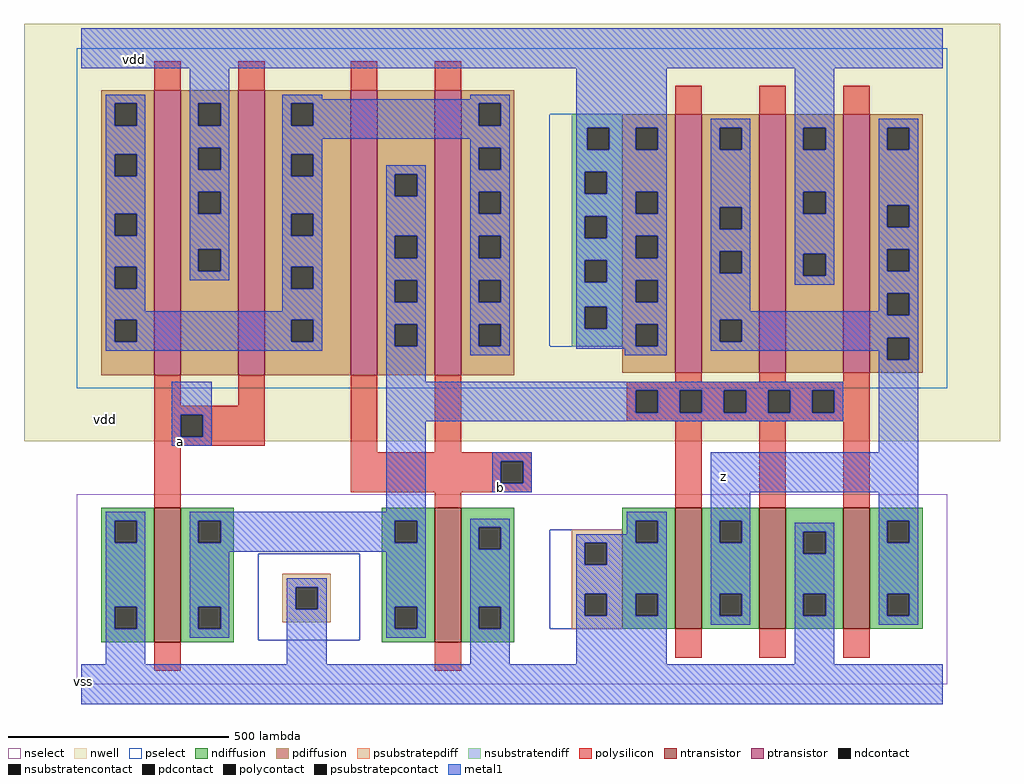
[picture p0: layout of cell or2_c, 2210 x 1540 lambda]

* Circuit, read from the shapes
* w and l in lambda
.subckt or2_c z a b vdd vss
M1 n1 a vss vss nfet w=305 l=60
M2 vss b n1 vss nfet w=305 l=60
M3 z n1 vss vss nfet w=275 l=60 m=3
M4 vdd a n2 vdd pfet w=645 l=60 m=2
M5 n1 b n2 vdd pfet w=645 l=60 m=2
M6 z n1 vdd vdd pfet w=585 l=60 m=3
.ends

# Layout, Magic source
magic
tech amic5n
<< nwell >>
rect -130 550 2080 1495
<< ntransistor >>
rect 165 95 225 400
rect 800 95 860 400
rect 1345 125 1405 400
rect 1535 125 1595 400
rect 1725 125 1785 400
<< ptransistor >>
rect 165 700 225 1345
rect 355 700 415 1345
rect 610 700 670 1345
rect 800 700 860 1345
rect 1345 705 1405 1290
rect 1535 705 1595 1290
rect 1725 705 1785 1290
<< nselect >>
rect 1060 765 1225 1290
rect -10 350 1960 430
rect -10 295 1060 350
rect -10 100 400 295
rect 630 125 1060 295
rect 1225 125 1960 350
rect 630 100 1960 125
rect -10 0 1960 100
<< pselect >>
rect -10 1290 1960 1440
rect -10 765 1060 1290
rect 1225 765 1960 1290
rect -10 670 1960 765
rect 400 100 630 295
rect 1060 125 1225 350
<< ndiffusion >>
rect 45 370 165 400
rect 45 320 75 370
rect 125 320 165 370
rect 45 175 165 320
rect 45 125 75 175
rect 125 125 165 175
rect 45 95 165 125
rect 225 370 345 400
rect 225 320 265 370
rect 315 320 345 370
rect 225 175 345 320
rect 680 370 800 400
rect 680 320 710 370
rect 760 320 800 370
rect 225 125 265 175
rect 315 125 345 175
rect 680 175 800 320
rect 225 95 345 125
rect 680 125 710 175
rect 760 125 800 175
rect 680 95 800 125
rect 860 355 980 400
rect 860 305 900 355
rect 950 305 980 355
rect 1225 370 1345 400
rect 860 175 980 305
rect 860 125 900 175
rect 950 125 980 175
rect 1225 320 1255 370
rect 1305 320 1345 370
rect 1225 205 1345 320
rect 1225 155 1255 205
rect 1305 155 1345 205
rect 1225 125 1345 155
rect 1405 370 1535 400
rect 1405 320 1445 370
rect 1495 320 1535 370
rect 1405 205 1535 320
rect 1405 155 1445 205
rect 1495 155 1535 205
rect 1405 125 1535 155
rect 1595 345 1725 400
rect 1595 295 1635 345
rect 1685 295 1725 345
rect 1595 205 1725 295
rect 1595 155 1635 205
rect 1685 155 1725 205
rect 1595 125 1725 155
rect 1785 370 1905 400
rect 1785 320 1825 370
rect 1875 320 1905 370
rect 1785 205 1905 320
rect 1785 155 1825 205
rect 1875 155 1905 205
rect 1785 125 1905 155
rect 860 95 980 125
<< pdiffusion >>
rect 45 1315 165 1345
rect 45 1265 75 1315
rect 125 1265 165 1315
rect 45 1200 165 1265
rect 45 1150 75 1200
rect 125 1150 165 1200
rect 45 1065 165 1150
rect 45 1015 75 1065
rect 125 1015 165 1065
rect 45 945 165 1015
rect 45 895 75 945
rect 125 895 165 945
rect 45 825 165 895
rect 45 775 75 825
rect 125 775 165 825
rect 45 700 165 775
rect 225 1315 355 1345
rect 225 1265 265 1315
rect 315 1265 355 1315
rect 225 1215 355 1265
rect 225 1165 265 1215
rect 315 1165 355 1215
rect 225 1115 355 1165
rect 225 1065 265 1115
rect 315 1065 355 1115
rect 225 985 355 1065
rect 225 935 265 985
rect 315 935 355 985
rect 225 700 355 935
rect 415 1315 610 1345
rect 415 1265 475 1315
rect 525 1265 610 1315
rect 415 1200 610 1265
rect 415 1150 475 1200
rect 525 1150 610 1200
rect 415 1065 610 1150
rect 415 1015 475 1065
rect 525 1015 610 1065
rect 415 945 610 1015
rect 415 895 475 945
rect 525 895 610 945
rect 415 825 610 895
rect 415 775 475 825
rect 525 775 610 825
rect 415 700 610 775
rect 670 1155 800 1345
rect 670 1105 710 1155
rect 760 1105 800 1155
rect 670 1015 800 1105
rect 670 965 710 1015
rect 760 965 800 1015
rect 670 915 800 965
rect 670 865 710 915
rect 760 865 800 915
rect 670 815 800 865
rect 670 765 710 815
rect 760 765 800 815
rect 670 700 800 765
rect 860 1315 980 1345
rect 860 1265 900 1315
rect 950 1265 980 1315
rect 860 1215 980 1265
rect 860 1165 900 1215
rect 950 1165 980 1215
rect 860 1115 980 1165
rect 860 1065 900 1115
rect 950 1065 980 1115
rect 860 1015 980 1065
rect 860 965 900 1015
rect 950 965 980 1015
rect 860 915 980 965
rect 860 865 900 915
rect 950 865 980 915
rect 860 815 980 865
rect 860 765 900 815
rect 950 765 980 815
rect 1225 1260 1345 1290
rect 1225 1210 1255 1260
rect 1305 1210 1345 1260
rect 1225 1115 1345 1210
rect 1225 1065 1255 1115
rect 1305 1065 1345 1115
rect 1225 1015 1345 1065
rect 1225 965 1255 1015
rect 1305 965 1345 1015
rect 1225 915 1345 965
rect 1225 865 1255 915
rect 1305 865 1345 915
rect 1225 815 1345 865
rect 1225 765 1255 815
rect 1305 765 1345 815
rect 860 700 980 765
rect 1225 705 1345 765
rect 1405 1260 1535 1290
rect 1405 1210 1445 1260
rect 1495 1210 1535 1260
rect 1405 1080 1535 1210
rect 1405 1030 1445 1080
rect 1495 1030 1535 1080
rect 1405 980 1535 1030
rect 1405 930 1445 980
rect 1495 930 1535 980
rect 1405 825 1535 930
rect 1405 775 1445 825
rect 1495 775 1535 825
rect 1405 705 1535 775
rect 1595 1260 1725 1290
rect 1595 1210 1635 1260
rect 1685 1210 1725 1260
rect 1595 1115 1725 1210
rect 1595 1065 1635 1115
rect 1685 1065 1725 1115
rect 1595 975 1725 1065
rect 1595 925 1635 975
rect 1685 925 1725 975
rect 1595 705 1725 925
rect 1785 1260 1905 1290
rect 1785 1210 1825 1260
rect 1875 1210 1905 1260
rect 1785 1085 1905 1210
rect 1785 1035 1825 1085
rect 1875 1035 1905 1085
rect 1785 985 1905 1035
rect 1785 935 1825 985
rect 1875 935 1905 985
rect 1785 885 1905 935
rect 1785 835 1825 885
rect 1875 835 1905 885
rect 1785 785 1905 835
rect 1785 735 1825 785
rect 1875 735 1905 785
rect 1785 705 1905 735
<< psubstratepdiff >>
rect 455 220 565 250
rect 455 170 485 220
rect 535 170 565 220
rect 455 140 565 170
rect 1110 320 1225 350
rect 1110 270 1140 320
rect 1190 270 1225 320
rect 1110 205 1225 270
rect 1110 155 1140 205
rect 1190 155 1225 205
rect 1110 125 1225 155
<< nsubstratendiff >>
rect 1110 1260 1225 1290
rect 1110 1210 1145 1260
rect 1195 1210 1225 1260
rect 1110 1160 1225 1210
rect 1110 1110 1140 1160
rect 1190 1110 1225 1160
rect 1110 1060 1225 1110
rect 1110 1010 1140 1060
rect 1190 1010 1225 1060
rect 1110 960 1225 1010
rect 1110 910 1140 960
rect 1190 910 1225 960
rect 1110 855 1225 910
rect 1110 805 1140 855
rect 1190 805 1225 855
rect 1110 765 1225 805
<< nsubstratencontact >>
rect 1145 1210 1195 1260
rect 1140 1110 1190 1160
rect 1140 1010 1190 1060
rect 1140 910 1190 960
rect 1140 805 1190 855
<< psubstratepcontact >>
rect 485 170 535 220
rect 1140 270 1190 320
rect 1140 155 1190 205
<< ndcontact >>
rect 75 320 125 370
rect 75 125 125 175
rect 265 320 315 370
rect 710 320 760 370
rect 265 125 315 175
rect 710 125 760 175
rect 900 305 950 355
rect 900 125 950 175
rect 1255 320 1305 370
rect 1255 155 1305 205
rect 1445 320 1495 370
rect 1445 155 1495 205
rect 1635 295 1685 345
rect 1635 155 1685 205
rect 1825 320 1875 370
rect 1825 155 1875 205
<< pdcontact >>
rect 75 1265 125 1315
rect 75 1150 125 1200
rect 75 1015 125 1065
rect 75 895 125 945
rect 75 775 125 825
rect 265 1265 315 1315
rect 265 1165 315 1215
rect 265 1065 315 1115
rect 265 935 315 985
rect 475 1265 525 1315
rect 475 1150 525 1200
rect 475 1015 525 1065
rect 475 895 525 945
rect 475 775 525 825
rect 710 1105 760 1155
rect 710 965 760 1015
rect 710 865 760 915
rect 710 765 760 815
rect 900 1265 950 1315
rect 900 1165 950 1215
rect 900 1065 950 1115
rect 900 965 950 1015
rect 900 865 950 915
rect 900 765 950 815
rect 1255 1210 1305 1260
rect 1255 1065 1305 1115
rect 1255 965 1305 1015
rect 1255 865 1305 915
rect 1255 765 1305 815
rect 1445 1210 1495 1260
rect 1445 1030 1495 1080
rect 1445 930 1495 980
rect 1445 775 1495 825
rect 1635 1210 1685 1260
rect 1635 1065 1685 1115
rect 1635 925 1685 975
rect 1825 1210 1875 1260
rect 1825 1035 1875 1085
rect 1825 935 1875 985
rect 1825 835 1875 885
rect 1825 735 1875 785
<< polysilicon >>
rect 165 1345 225 1410
rect 355 1345 415 1410
rect 610 1345 670 1410
rect 800 1345 860 1410
rect 1345 1290 1405 1355
rect 1535 1290 1595 1355
rect 1725 1290 1785 1355
rect 165 630 225 700
rect 355 630 415 700
rect 165 610 415 630
rect 165 560 225 610
rect 275 560 415 610
rect 165 540 415 560
rect 165 400 225 540
rect 610 525 670 700
rect 800 525 860 700
rect 1345 685 1405 705
rect 1535 685 1595 705
rect 1725 685 1785 705
rect 1235 665 1785 685
rect 1235 615 1255 665
rect 1305 615 1355 665
rect 1405 615 1455 665
rect 1505 615 1555 665
rect 1605 615 1655 665
rect 1705 615 1785 665
rect 1235 595 1785 615
rect 610 505 1020 525
rect 610 455 950 505
rect 1000 455 1020 505
rect 610 435 1020 455
rect 800 400 860 435
rect 1345 400 1405 595
rect 1535 400 1595 595
rect 1725 400 1785 595
rect 165 30 225 95
rect 800 30 860 95
rect 1345 60 1405 125
rect 1535 60 1595 125
rect 1725 60 1785 125
<< polycontact >>
rect 225 560 275 610
rect 1255 615 1305 665
rect 1355 615 1405 665
rect 1455 615 1505 665
rect 1555 615 1605 665
rect 1655 615 1705 665
rect 950 455 1000 505
<< metal1 >>
rect 0 1395 1950 1485
rect 55 1315 145 1335
rect 55 1265 75 1315
rect 125 1265 145 1315
rect 55 1200 145 1265
rect 55 1150 75 1200
rect 125 1150 145 1200
rect 55 1065 145 1150
rect 55 1015 75 1065
rect 125 1015 145 1065
rect 55 945 145 1015
rect 55 895 75 945
rect 125 895 145 945
rect 245 1315 335 1395
rect 245 1265 265 1315
rect 315 1265 335 1315
rect 245 1215 335 1265
rect 245 1165 265 1215
rect 315 1165 335 1215
rect 245 1115 335 1165
rect 245 1065 265 1115
rect 315 1065 335 1115
rect 245 985 335 1065
rect 245 935 265 985
rect 315 935 335 985
rect 245 915 335 935
rect 455 1325 545 1335
rect 880 1325 970 1335
rect 455 1315 970 1325
rect 455 1265 475 1315
rect 525 1265 900 1315
rect 950 1265 970 1315
rect 455 1235 970 1265
rect 455 1200 545 1235
rect 455 1150 475 1200
rect 525 1150 545 1200
rect 880 1215 970 1235
rect 455 1065 545 1150
rect 455 1015 475 1065
rect 525 1015 545 1065
rect 455 945 545 1015
rect 55 845 145 895
rect 455 895 475 945
rect 525 895 545 945
rect 455 845 545 895
rect 55 825 545 845
rect 55 775 75 825
rect 125 775 475 825
rect 525 775 545 825
rect 55 755 545 775
rect 690 1155 780 1175
rect 690 1105 710 1155
rect 760 1105 780 1155
rect 690 1015 780 1105
rect 690 965 710 1015
rect 760 965 780 1015
rect 690 915 780 965
rect 690 865 710 915
rect 760 865 780 915
rect 690 815 780 865
rect 690 765 710 815
rect 760 765 780 815
rect 690 685 780 765
rect 880 1165 900 1215
rect 950 1165 970 1215
rect 880 1115 970 1165
rect 880 1065 900 1115
rect 950 1065 970 1115
rect 880 1015 970 1065
rect 880 965 900 1015
rect 950 965 970 1015
rect 880 915 970 965
rect 880 865 900 915
rect 950 865 970 915
rect 880 815 970 865
rect 880 765 900 815
rect 950 765 970 815
rect 880 745 970 765
rect 1120 1260 1325 1395
rect 1120 1210 1145 1260
rect 1195 1210 1255 1260
rect 1305 1210 1325 1260
rect 1120 1160 1325 1210
rect 1120 1110 1140 1160
rect 1190 1115 1325 1160
rect 1190 1110 1255 1115
rect 1120 1065 1255 1110
rect 1305 1065 1325 1115
rect 1120 1060 1325 1065
rect 1120 1010 1140 1060
rect 1190 1015 1325 1060
rect 1190 1010 1255 1015
rect 1120 965 1255 1010
rect 1305 965 1325 1015
rect 1120 960 1325 965
rect 1120 910 1140 960
rect 1190 915 1325 960
rect 1190 910 1255 915
rect 1120 865 1255 910
rect 1305 865 1325 915
rect 1120 855 1325 865
rect 1120 805 1140 855
rect 1190 815 1325 855
rect 1190 805 1255 815
rect 1120 765 1255 805
rect 1305 765 1325 815
rect 1120 760 1325 765
rect 1230 745 1325 760
rect 1425 1260 1515 1280
rect 1425 1210 1445 1260
rect 1495 1210 1515 1260
rect 1425 1080 1515 1210
rect 1425 1030 1445 1080
rect 1495 1030 1515 1080
rect 1425 980 1515 1030
rect 1425 930 1445 980
rect 1495 930 1515 980
rect 1425 845 1515 930
rect 1615 1260 1705 1395
rect 1615 1210 1635 1260
rect 1685 1210 1705 1260
rect 1615 1115 1705 1210
rect 1615 1065 1635 1115
rect 1685 1065 1705 1115
rect 1615 975 1705 1065
rect 1615 925 1635 975
rect 1685 925 1705 975
rect 1615 905 1705 925
rect 1805 1260 1895 1280
rect 1805 1210 1825 1260
rect 1875 1210 1895 1260
rect 1805 1085 1895 1210
rect 1805 1035 1825 1085
rect 1875 1035 1895 1085
rect 1805 985 1895 1035
rect 1805 935 1825 985
rect 1875 935 1895 985
rect 1805 885 1895 935
rect 1805 845 1825 885
rect 1425 835 1825 845
rect 1875 835 1895 885
rect 1425 825 1895 835
rect 1425 775 1445 825
rect 1495 785 1895 825
rect 1495 775 1825 785
rect 1425 755 1825 775
rect 1805 735 1825 755
rect 1875 735 1895 785
rect 205 610 295 685
rect 205 560 225 610
rect 275 560 295 610
rect 205 540 295 560
rect 690 665 1725 685
rect 690 615 1255 665
rect 1305 615 1355 665
rect 1405 615 1455 665
rect 1505 615 1555 665
rect 1605 615 1655 665
rect 1705 615 1725 665
rect 690 595 1725 615
rect 690 390 780 595
rect 1805 525 1895 735
rect 930 505 1020 525
rect 930 455 950 505
rect 1000 455 1020 505
rect 930 435 1020 455
rect 1425 435 1895 525
rect 55 370 145 390
rect 55 320 75 370
rect 125 320 145 370
rect 55 175 145 320
rect 55 125 75 175
rect 125 125 145 175
rect 55 45 145 125
rect 245 370 780 390
rect 245 320 265 370
rect 315 320 710 370
rect 760 320 780 370
rect 245 300 780 320
rect 245 175 335 300
rect 245 125 265 175
rect 315 125 335 175
rect 245 105 335 125
rect 465 220 555 240
rect 465 170 485 220
rect 535 170 555 220
rect 465 45 555 170
rect 690 175 780 300
rect 690 125 710 175
rect 760 125 780 175
rect 690 105 780 125
rect 880 355 970 375
rect 880 305 900 355
rect 950 305 970 355
rect 1235 370 1325 390
rect 1235 340 1255 370
rect 880 175 970 305
rect 880 125 900 175
rect 950 125 970 175
rect 880 45 970 125
rect 1120 320 1255 340
rect 1305 320 1325 370
rect 1120 270 1140 320
rect 1190 270 1325 320
rect 1120 205 1325 270
rect 1120 155 1140 205
rect 1190 155 1255 205
rect 1305 155 1325 205
rect 1120 45 1325 155
rect 1425 370 1515 435
rect 1425 320 1445 370
rect 1495 320 1515 370
rect 1805 370 1895 435
rect 1425 205 1515 320
rect 1425 155 1445 205
rect 1495 155 1515 205
rect 1425 135 1515 155
rect 1615 345 1705 365
rect 1615 295 1635 345
rect 1685 295 1705 345
rect 1615 205 1705 295
rect 1615 155 1635 205
rect 1685 155 1705 205
rect 1615 45 1705 155
rect 1805 320 1825 370
rect 1875 320 1895 370
rect 1805 205 1895 320
rect 1805 155 1825 205
rect 1875 155 1895 205
rect 1805 135 1895 155
rect 0 -45 1950 45
<< labels >>
flabel metal1 s 120 1415 120 1415 2 FreeSans 400 0 0 0 vdd
port 3 ne
flabel nwell 55 600 55 600 8 FreeSans 400 180 0 0 vdd
flabel metal1 s 225 550 225 550 2 FreeSans 400 0 0 0 a
port 1 ne
flabel metal1 s 5 5 5 5 2 FreeSans 400 0 0 0 vss
port 4 ne
flabel metal1 s 1455 470 1455 470 2 FreeSans 400 0 0 0 z
port 0 ne
flabel metal1 s 950 445 950 445 2 FreeSans 400 0 0 0 b
port 2 ne
<< properties >>
string FIXED_BBOX 0 0 1950 1440
string LEFsite core
string LEFclass CORE
string LEFsymmetry X Y
<< end >>
